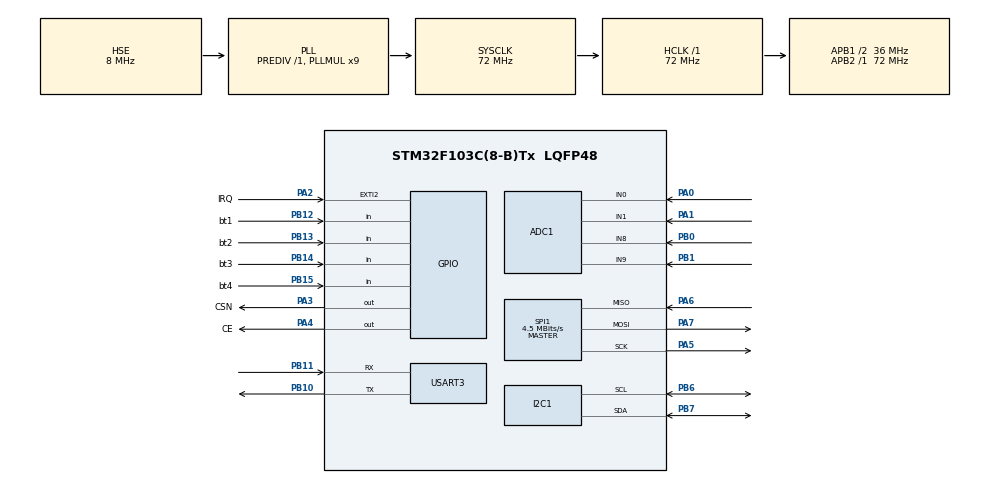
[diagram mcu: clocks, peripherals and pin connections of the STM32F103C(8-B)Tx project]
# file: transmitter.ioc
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ADC1.Channel-0\#ChannelRegularConversion=ADC_CHANNEL_0
ADC1.Channel-1\#ChannelRegularConversion=ADC_CHANNEL_1
ADC1.Channel-2\#ChannelRegularConversion=ADC_CHANNEL_8
ADC1.Channel-3\#ChannelRegularConversion=ADC_CHANNEL_9
ADC1.ContinuousConvMode=ENABLE
ADC1.NbrOfConversion=4
ADC1.NbrOfConversionFlag=1
ADC1.Rank-0\#ChannelRegularConversion=1
ADC1.Rank-1\#ChannelRegularConversion=2
ADC1.Rank-2\#ChannelRegularConversion=3
ADC1.Rank-3\#ChannelRegularConversion=4
ADC1.SamplingTime-0\#ChannelRegularConversion=ADC_SAMPLETIME_41CYCLES_5
ADC1.SamplingTime-1\#ChannelRegularConversion=ADC_SAMPLETIME_41CYCLES_5
ADC1.SamplingTime-2\#ChannelRegularConversion=ADC_SAMPLETIME_41CYCLES_5
ADC1.SamplingTime-3\#ChannelRegularConversion=ADC_SAMPLETIME_41CYCLES_5
ADC1.master=1
Dma.ADC1.0.Direction=DMA_PERIPH_TO_MEMORY
Dma.ADC1.0.Instance=DMA1_Channel1
Dma.ADC1.0.MemDataAlignment=DMA_MDATAALIGN_HALFWORD
Dma.ADC1.0.MemInc=DMA_MINC_ENABLE
Dma.ADC1.0.Mode=DMA_CIRCULAR
Dma.ADC1.0.PeriphDataAlignment=DMA_PDATAALIGN_HALFWORD
Dma.ADC1.0.PeriphInc=DMA_PINC_DISABLE
Dma.ADC1.0.Priority=DMA_PRIORITY_LOW
Dma.Request0=ADC1
I2C1.I2C_Mode=I2C_Fast
Mcu.Family=STM32F1
Mcu.Name=STM32F103C(8-B)Tx
Mcu.Package=LQFP48
NVIC.DMA1_Channel1_IRQn=true\:0\:0\:false\:false\:true\:false\:true\:true
NVIC.EXTI2_IRQn=true\:0\:0\:false\:true\:true\:1\:true\:true\:true
NVIC.PriorityGroup=NVIC_PRIORITYGROUP_4
PA0-WKUP.Signal=ADCx_IN0
PA1.Signal=ADCx_IN1
PA13.Mode=Serial_Wire
PA13.Signal=SYS_JTMS-SWDIO
PA14.Mode=Serial_Wire
PA14.Signal=SYS_JTCK-SWCLK
PA2.GPIO_Label=IRQ
PA2.GPIO_ModeDefaultEXTI=GPIO_MODE_IT_FALLING
PA2.GPIO_PuPd=GPIO_PULLUP
PA2.Signal=GPXTI2
PA3.GPIO_Label=CSN
PA3.GPIO_Speed=GPIO_SPEED_FREQ_HIGH
PA3.PinState=GPIO_PIN_SET
PA3.Signal=GPIO_Output
PA4.GPIO_Label=CE
PA4.GPIO_Speed=GPIO_SPEED_FREQ_HIGH
PA4.Signal=GPIO_Output
PA5.Mode=Full_Duplex_Master
PA5.Signal=SPI1_SCK
PA6.Mode=Full_Duplex_Master
PA6.Signal=SPI1_MISO
PA7.Mode=Full_Duplex_Master
PA7.Signal=SPI1_MOSI
PB0.Signal=ADCx_IN8
PB1.Signal=ADCx_IN9
PB10.Mode=Asynchronous
PB10.Signal=USART3_TX
PB11.Mode=Asynchronous
PB11.Signal=USART3_RX
PB12.GPIO_Label=bt1
PB12.Signal=GPIO_Input
PB13.GPIO_Label=bt2
PB13.Signal=GPIO_Input
PB14.GPIO_Label=bt3
PB14.Signal=GPIO_Input
PB15.GPIO_Label=bt4
PB15.Signal=GPIO_Input
PB6.Mode=I2C
PB6.Signal=I2C1_SCL
PB7.Mode=I2C
PB7.Signal=I2C1_SDA
PD0-OSC_IN.Mode=HSE-External-Oscillator
PD0-OSC_IN.Signal=RCC_OSC_IN
PD1-OSC_OUT.Mode=HSE-External-Oscillator
PD1-OSC_OUT.Signal=RCC_OSC_OUT
ProjectManager.HeapSize=0x200
ProjectManager.StackSize=0x400
ProjectManager.TargetToolchain=STM32CubeIDE
RCC.ADCPresc=RCC_ADCPCLK2_DIV6
RCC.AHBFreq_Value=72000000
RCC.APB1CLKDivider=RCC_HCLK_DIV2
RCC.APB1Freq_Value=36000000
RCC.APB1TimFreq_Value=72000000
RCC.APB2Freq_Value=72000000
RCC.APB2TimFreq_Value=72000000
RCC.HCLKFreq_Value=72000000
RCC.PLLMUL=RCC_PLL_MUL9
RCC.PLLSourceVirtual=RCC_PLLSOURCE_HSE
RCC.SYSCLKFreq_VALUE=72000000
RCC.SYSCLKSource=RCC_SYSCLKSOURCE_PLLCLK
RCC.USBFreq_Value=72000000
SH.ADCx_IN0.0=ADC1_IN0,IN0
SH.ADCx_IN1.0=ADC1_IN1,IN1
SH.ADCx_IN8.0=ADC1_IN8,IN8
SH.ADCx_IN9.0=ADC1_IN9,IN9
SPI1.BaudRatePrescaler=SPI_BAUDRATEPRESCALER_16
SPI1.CalculateBaudRate=4.5 MBits/s
SPI1.Direction=SPI_DIRECTION_2LINES
SPI1.Mode=SPI_MODE_MASTER
SPI1.VirtualType=VM_MASTER
USART3.VirtualMode=VM_ASYNC
board=custom

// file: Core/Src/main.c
/* USER CODE BEGIN Header */
/**
 ******************************************************************************
 * @file           : main.c
 * @brief          : Main program body
 ******************************************************************************
 * @attention
 *
 * Copyright (c) 2025 STMicroelectronics.
 * All rights reserved.
 *
 * This software is licensed under terms that can be found in the LICENSE file
 * in the root directory of this software component.
 * If no LICENSE file comes with this software, it is provided AS-IS.
 *
 ******************************************************************************
 */
/* USER CODE END Header */
#include "main.h"
#include "adc.h"
#include "dma.h"
#include "i2c.h"
#include "spi.h"
#include "usart.h"
#include "gpio.h"

/* USER CODE BEGIN Includes */
#include <stdio.h>
#include "SSD1306.h"
#include "font_5x7.h"
#include "nrf24l01p.h"
/* USER CODE END Includes */

/* USER CODE BEGIN PTD */
//#define UART_TEST
/* USER CODE END PTD */

/* USER CODE BEGIN PM */
/*
Byte0   : 0xAB          // HEADER (시작 마커)
Byte1   : seq           // 시퀀스 번호 (0..255)
Byte2   : x1  	  		// 좌스틱 X (0~255)
Byte3   : y1   			// 좌스틱 Y (0~255)
Byte4   : x2 		 	// 우스틱 X (0~255)
Byte5   : y2	 	 	// 우스틱 Y (0~255)
Byte6   : btn_flags		// 버튼 비트맵: bit0..3=버튼1..4, 나머 예약
Byte7   : checksum		// simple checksum (예: sum of bytes1..6) & 0xFF
Byte8   : 0xBA          // TAIL (끝 마커)
 */
volatile uint16_t adcval[4];
uint8_t tx_data[NRF24L01P_PAYLOAD_LENGTH] = {0};
/* USER CODE END PM */

void SystemClock_Config(void);
static void MX_NVIC_Init(void);

/* USER CODE BEGIN 0 */
int _write(int file, char *ptr, int len)
{
	HAL_UART_Transmit(&huart3,(uint8_t *)ptr, len, HAL_MAX_DELAY);
	return len;
}

void oledUpdate(const char *x1, const char *y1, const char *x2, const char *y2)
{
	SSD1306_Clear();
	SSD1306_DrawString(4, 0, x1, 7);
	SSD1306_DrawString(4, 12, y1, 7);
	SSD1306_DrawString(4, 24, x2, 7);
	SSD1306_DrawString(4, 36, y2, 7);
	SSD1306_UpdateScreen();
}
/* USER CODE END 0 */

int main(void)
{

	/* USER CODE BEGIN 1 */
	char x1[15];
	char y1[15];
	char x2[15];
	char y2[20];
	uint8_t bt_state;
	/* USER CODE END 1 */

	/* MCU Configuration--------------------------------------------------------*/

	/* Reset of all peripherals, Initializes the Flash interface and the Systick. */
	HAL_Init();

	/* Configure the system clock */
	SystemClock_Config();

	/* Initialize all configured peripherals */
	MX_GPIO_Init();
	MX_DMA_Init();
	MX_ADC1_Init();
	MX_USART3_UART_Init();
	MX_I2C1_Init();
	MX_SPI1_Init();

	/* Initialize interrupts */
	MX_NVIC_Init();
	/* USER CODE BEGIN 2 */
	HAL_Delay(200);	// oled 전원 안정화를 위한 딜레이 추가 .
	SSD1306_Init(&hi2c1);
	HAL_ADC_Start_DMA(&hadc1, adcval, 4);
	nrf24l01p_tx_init(2500, _1Mbps);
	/* USER CODE END 2 */

	/* Infinite loop */
	/* USER CODE BEGIN WHILE */

	uint8_t count = 0;
	tx_data[0] = 0xAB;
	tx_data[8] = 0xBA;

#ifdef UART_TEST
	uint8_t tx_text[50] ={0};
#endif

	while (1)
	{
		bt_state = !HAL_GPIO_ReadPin(bt1_GPIO_Port, bt1_Pin)<<0 | !HAL_GPIO_ReadPin(bt2_GPIO_Port, bt2_Pin)<<1 | !HAL_GPIO_ReadPin(bt3_GPIO_Port, bt3_Pin)<<2 | !HAL_GPIO_ReadPin(bt4_GPIO_Port, bt4_Pin)<<3;

		if(count > 255)
		{
			count = 0;
		}
		tx_data[1] = count;
		tx_data[2] = (uint8_t)((adcval[0]*255)/4095);
		tx_data[3] = (uint8_t)((adcval[1]*255)/4095);
		tx_data[4] = 255 - (uint8_t)((adcval[2]*255)/4095);
		tx_data[5] = 255 - (uint8_t)((adcval[3]*255)/4095);
		tx_data[6] = bt_state;
		tx_data[7] = (tx_data[1] + tx_data[2] + tx_data[3]+tx_data[4]+tx_data[5]+tx_data[6]) &0xFF;

		sprintf(x1, "x1 = %03d", tx_data[2]);
		sprintf(y1, "y1 = %03d", tx_data[3]);
		sprintf(x2, "x2 = %03d", tx_data[4]);
		sprintf(y2, "y2 = %03d, 0x%02X", tx_data[5], bt_state);

		oledUpdate(x1, y1, x2, y2);

#ifdef UART_TEST
		sprintf(tx_text, "%02x, %02x, x1=%02x, y1=%02x, x2=%02x, y2=%02x, %02x, %02x, %02x \r\n", tx_data[0], tx_data[1], tx_data[2], tx_data[3], tx_data[4], tx_data[5], tx_data[6], tx_data[7], tx_data[8]);
		HAL_UART_Transmit(&huart3, tx_text, 50, HAL_MAX_DELAY);
#endif
		nrf24l01p_tx_transmit(tx_data);
		HAL_Delay(20);
		count++;
		/* USER CODE END WHILE */

	}
}

void SystemClock_Config(void)
{
	RCC_OscInitTypeDef RCC_OscInitStruct = {0};
	RCC_ClkInitTypeDef RCC_ClkInitStruct = {0};
	RCC_PeriphCLKInitTypeDef PeriphClkInit = {0};

	/** Initializes the RCC Oscillators according to the specified parameters
	 * in the RCC_OscInitTypeDef structure.
	 */
	RCC_OscInitStruct.OscillatorType = RCC_OSCILLATORTYPE_HSE;
	RCC_OscInitStruct.HSEState = RCC_HSE_ON;
	RCC_OscInitStruct.HSEPredivValue = RCC_HSE_PREDIV_DIV1;
	RCC_OscInitStruct.HSIState = RCC_HSI_ON;
	RCC_OscInitStruct.PLL.PLLState = RCC_PLL_ON;
	RCC_OscInitStruct.PLL.PLLSource = RCC_PLLSOURCE_HSE;
	RCC_OscInitStruct.PLL.PLLMUL = RCC_PLL_MUL9;
	if (HAL_RCC_OscConfig(&RCC_OscInitStruct) != HAL_OK)
	{
		Error_Handler();
	}

	/** Initializes the CPU, AHB and APB buses clocks
	 */
	RCC_ClkInitStruct.ClockType = RCC_CLOCKTYPE_HCLK|RCC_CLOCKTYPE_SYSCLK
			|RCC_CLOCKTYPE_PCLK1|RCC_CLOCKTYPE_PCLK2;
	RCC_ClkInitStruct.SYSCLKSource = RCC_SYSCLKSOURCE_PLLCLK;
	RCC_ClkInitStruct.AHBCLKDivider = RCC_SYSCLK_DIV1;
	RCC_ClkInitStruct.APB1CLKDivider = RCC_HCLK_DIV2;
	RCC_ClkInitStruct.APB2CLKDivider = RCC_HCLK_DIV1;

	if (HAL_RCC_ClockConfig(&RCC_ClkInitStruct, FLASH_LATENCY_2) != HAL_OK)
	{
		Error_Handler();
	}
	PeriphClkInit.PeriphClockSelection = RCC_PERIPHCLK_ADC;
	PeriphClkInit.AdcClockSelection = RCC_ADCPCLK2_DIV6;
	if (HAL_RCCEx_PeriphCLKConfig(&PeriphClkInit) != HAL_OK)
	{
		Error_Handler();
	}
}

/**
 * @brief NVIC Configuration.
 * @retval None
 */
static void MX_NVIC_Init(void)
{
	/* EXTI2_IRQn interrupt configuration */
	HAL_NVIC_SetPriority(EXTI2_IRQn, 0, 0);
	HAL_NVIC_EnableIRQ(EXTI2_IRQn);
}

/* USER CODE BEGIN 4 */
void HAL_GPIO_EXTI_Callback(uint16_t GPIO_Pin)
{
	if(GPIO_Pin == NRF24L01P_IRQ_PIN_NUMBER)
	{
		nrf24l01p_tx_irq();
	}

}
/* USER CODE END 4 */

void Error_Handler(void)
{
	__disable_irq();
	while (1)
	{
	}
}
